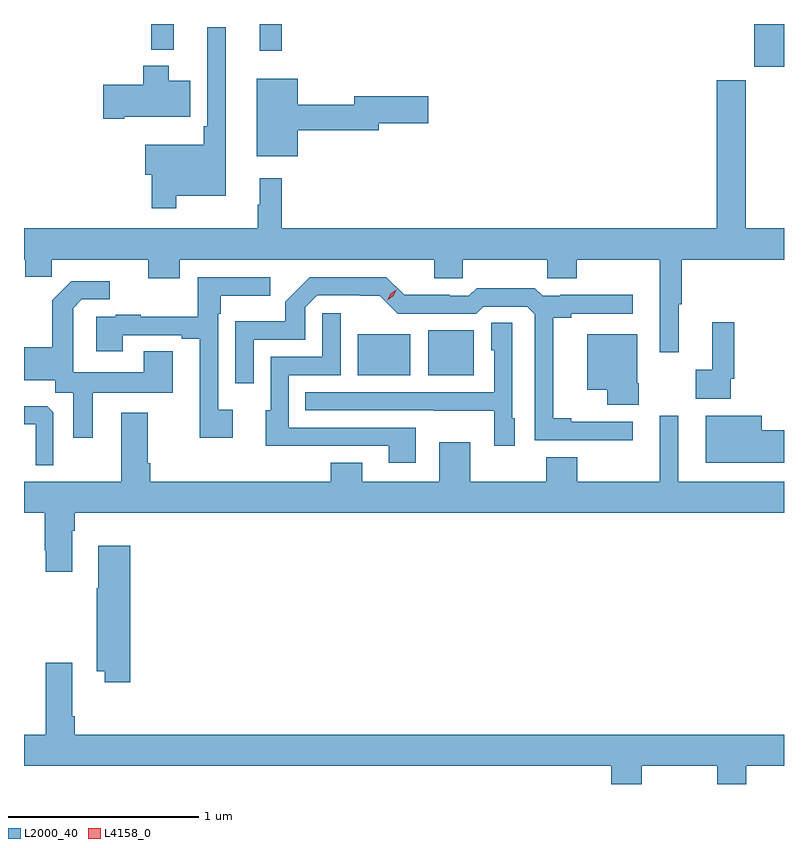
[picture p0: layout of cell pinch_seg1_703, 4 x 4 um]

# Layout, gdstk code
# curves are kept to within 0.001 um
import gdstk
lib = gdstk.Library(unit=1e-6, precision=1e-09)
def R(c, l, rs):  # rectangles x0, y0, x1, y1
    for r in rs: c.add(gdstk.rectangle(r[:2], r[2:], *l))
def P(c, l, *ps):  # polygons
    for p in ps: c.add(gdstk.Polygon(p, *l))
L2000_40 = (2000, 40)
L4158_0 = (4158, 0)

pinch_seg1_703 = lib.new_cell('pinch_seg1_703')
R(pinch_seg1_703, L2000_40, [(689.504,572.435,689.782,572.65), (689.876,572.435,690.115,572.671), (691.592,574.059,691.748,574.284), (688.988,574.143,689.105,574.284), (688.417,574.148,688.535,574.284)])
P(pinch_seg1_703, L2000_40, [(688.549,573.38),(688.81,573.38),(688.81,574.267),(688.713,574.267),(688.713,573.745),(688.693,573.745),(688.693,573.649),(688.386,573.649),(688.386,573.491),(688.42,573.491),(688.42,573.315),(688.549,573.315)],
  [(688.276,573.797),(688.624,573.797),(688.624,573.985),(688.51,573.985),(688.51,574.063),(688.376,574.063),(688.376,573.963),(688.164,573.963),(688.164,573.785),(688.276,573.785)],
  [(689.188,573.724),(689.614,573.724),(689.614,573.761),(689.875,573.761),(689.875,573.903),(689.486,573.903),(689.486,573.86),(689.188,573.86),(689.188,573.997),(688.973,573.997),(688.973,573.587),(689.188,573.587)],
  [(691.193,572.808),(691.211,572.808),(691.211,573.044),(691.748,573.044),(691.748,573.208),(691.546,573.208),(691.546,573.987),(691.394,573.987),(691.394,573.208),(689.105,573.208),(689.105,573.472),(688.988,573.472),(688.988,573.332),(688.977,573.332),(688.977,573.208),(687.748,573.208),(687.748,573.044),(687.755,573.044),(687.755,572.954),(687.893,572.954),(687.893,573.044),(688.403,573.044),(688.403,572.945),(688.567,572.945),(688.567,573.044),(689.906,573.044),(689.906,572.946),(690.057,572.946),(690.057,573.044),(690.502,573.044),(690.502,572.946),(690.657,572.946),(690.657,573.044),(691.094,573.044),(691.094,572.556),(691.193,572.556)],
  [(688.846,572.254),(688.77,572.254),(688.77,572.759),(688.783,572.759),(688.783,572.855),(689.044,572.855),(689.044,572.952),(688.662,572.952),(688.662,572.744),(688.363,572.744),(688.363,572.755),(688.231,572.755),(688.231,572.742),(688.127,572.742),(688.127,572.562),(688.267,572.562),(688.267,572.646),(688.577,572.646),(688.577,572.628),(688.673,572.628),(688.673,572.106),(688.846,572.106)],
  [(690.952,572.19),(690.628,572.19),(690.628,572.21),(690.533,572.21),(690.533,572.738),(690.628,572.738),(690.628,572.76),(690.952,572.76),(690.952,572.858),(690.571,572.858),(690.571,572.853),(690.477,572.853),(690.437,572.893),(690.13,572.893),(690.09,572.853),(689.99,572.853),(689.99,572.858),(689.75,572.858),(689.655,572.952),(689.252,572.952),(689.122,572.822),(689.122,572.719),(688.86,572.719),(688.86,572.394),(688.956,572.394),(688.956,572.622),(689.229,572.622),(689.229,572.793),(689.292,572.856),(689.621,572.855),(689.715,572.76),(690.129,572.76),(690.165,572.796),(690.396,572.796),(690.435,572.757),(690.435,572.094),(690.952,572.094)],
  [(688.111,572.342),(688.531,572.342),(688.531,572.561),(688.379,572.561),(688.379,572.452),(688.008,572.452),(688.008,572.693),(688.006,572.693),(688.006,572.788),(688.053,572.835),(688.198,572.835),(688.198,572.929),(687.997,572.929),(687.897,572.829),(687.897,572.584),(687.748,572.584),(687.748,572.408),(687.912,572.408),(687.912,572.344),(688.007,572.344),(688.007,572.106),(688.111,572.106)],
  [(689.809,572.16),(689.142,572.16),(689.142,572.436),(689.415,572.436),(689.415,572.761),(689.319,572.761),(689.319,572.532),(689.046,572.532),(689.046,572.25),(689.021,572.25),(689.021,572.063),(689.239,572.063),(689.239,572.064),(689.669,572.064),(689.669,571.974),(689.809,571.974)],
  [(691.467,572.416),(691.487,572.416),(691.487,572.713),(691.37,572.713),(691.37,572.465),(691.284,572.465),(691.284,572.312),(691.467,572.312)],
  [(690.331,572.208),(690.318,572.208),(690.318,572.711),(690.206,572.711),(690.206,572.568),(690.222,572.568),(690.222,572.346),(689.227,572.346),(689.227,572.25),(689.905,572.25),(689.905,572.249),(690.222,572.249),(690.222,572.064),(690.331,572.064)],
  [(690.984,572.392),(690.976,572.392),(690.976,572.65),(690.713,572.65),(690.713,572.36),(690.818,572.36),(690.818,572.28),(690.984,572.28)],
  [(687.903,572.241),(687.871,572.273),(687.748,572.273),(687.748,572.178),(687.81,572.178),(687.81,571.961),(687.903,571.961)],
  [(688.003,571.616),(688.016,571.616),(688.016,571.712),(691.748,571.712),(691.748,571.876),(691.192,571.876),(691.192,572.221),(691.094,572.221),(691.094,571.876),(690.661,571.876),(690.661,572.005),(690.497,572.005),(690.497,571.876),(690.097,571.876),(690.097,572.083),(689.933,572.083),(689.933,571.876),(689.527,571.876),(689.527,571.975),(689.363,571.975),(689.363,571.876),(688.412,571.876),(688.412,571.972),(688.399,571.972),(688.399,572.239),(688.259,572.239),(688.259,571.876),(687.748,571.876),(687.748,571.712),(687.856,571.712),(687.856,571.513),(687.863,571.513),(687.863,571.401),(688.003,571.401)],
  [(691.748,572.147),(691.63,572.147),(691.63,572.221),(691.337,572.221),(691.337,571.976),(691.748,571.976)],
  [(688.307,571.537),(688.139,571.537),(688.139,571.313),(688.132,571.313),(688.132,570.878),(688.172,570.878),(688.172,570.819),(688.307,570.819)],
  [(690.999,570.38),(691.396,570.38),(691.396,570.284),(691.55,570.284),(691.55,570.38),(691.748,570.38),(691.748,570.544),(688.016,570.544),(688.016,570.64),(688.003,570.64),(688.003,570.922),(687.863,570.922),(687.863,570.544),(687.748,570.544),(687.748,570.38),(690.839,570.38),(690.839,570.284),(690.999,570.284)])
P(pinch_seg1_703, L4158_0, [(689.66,572.831),(689.66,572.831),(689.677,572.865),(689.708,572.885),(689.708,572.885),(689.708,572.885),(689.692,572.852),(689.661,572.831)])

lib.write_gds('pinch_seg1_703.gds')
